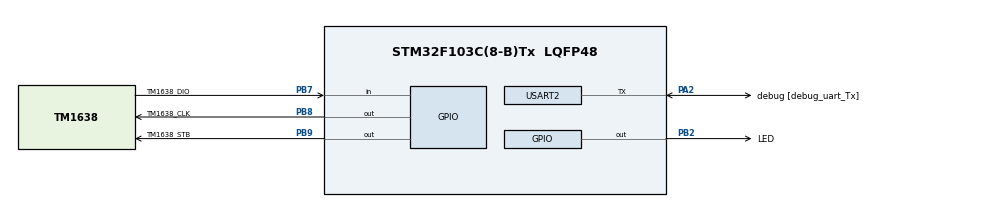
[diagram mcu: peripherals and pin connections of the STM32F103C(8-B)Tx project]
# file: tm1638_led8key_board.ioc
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Mcu.Family=STM32F1
Mcu.Name=STM32F103C(8-B)Tx
Mcu.Package=LQFP48
NVIC.PriorityGroup=NVIC_PRIORITYGROUP_4
PA13.Mode=Serial_Wire
PA13.Signal=SYS_JTMS-SWDIO
PA14.Mode=Serial_Wire
PA14.Signal=SYS_JTCK-SWCLK
PA2.GPIO_Label=debug [debug_uart_Tx]
PA2.Mode=Half_duplex(single_wire_mode)
PA2.Signal=USART2_TX
PB2.GPIO_Label=LED
PB2.Signal=GPIO_Output
PB7.GPIO_Label=TM1638_DIO
PB7.Signal=GPIO_Input
PB8.GPIO_Label=TM1638_CLK
PB8.Signal=GPIO_Output
PB9.GPIO_Label=TM1638_STB
PB9.Signal=GPIO_Output
PD0-OSC_IN.Mode=HSE-External-Oscillator
PD0-OSC_IN.Signal=RCC_OSC_IN
PD1-OSC_OUT.Mode=HSE-External-Oscillator
PD1-OSC_OUT.Signal=RCC_OSC_OUT
ProjectManager.HeapSize=0x200
ProjectManager.StackSize=0x400
ProjectManager.TargetToolchain=STM32CubeIDE
RCC.APB1Freq_Value=8000000
RCC.APB2Freq_Value=8000000
RCC.PLLSourceVirtual=RCC_PLLSOURCE_HSE
RCC.SYSCLKSource=RCC_SYSCLKSOURCE_HSE
RCC.USBFreq_Value=16000000
USART2.BaudRate=9600
USART2.VirtualMode=VM_ASYNC
board=custom

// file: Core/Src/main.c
/* USER CODE BEGIN Header */
/**
  ******************************************************************************
  * @file           : main.c
  * @brief          : Main program body
  ******************************************************************************
  * @attention
  *
  * Copyright (c) 2025 STMicroelectronics.
  * All rights reserved.
  *
  * This software is licensed under terms that can be found in the LICENSE file
  * in the root directory of this software component.
  * If no LICENSE file comes with this software, it is provided AS-IS.
  *
  ******************************************************************************
  */
/* USER CODE END Header */
#include "main.h"
#include "usart.h"
#include "gpio.h"

/* USER CODE BEGIN Includes */

	#include "local_config.h"
	#include "tm1638_led8keys_sm.h"

/* USER CODE END Includes */

/* USER CODE BEGIN PTD */

	/*
	 * 		TM1638 LED & KEYS:
	 * 	VCC		-> 3v3	power
	 * 	GND		-> GND	power
	 * 	STB		-> PB9	Output
	 * 	CLK		-> PB8	Output
	 * 	DIO		-> PB7	Output + Input
	 *
	 * 		stm32f103c8t6:
	 * 	SWDIO	-> PA13
	 * 	SWCLK	-> PA14
	 * 	debug 	-> PA2, 9600
	 * 	LED		-> PB2
	 * 	BTN		-> PA0
	 * 	8MHz	-> PD0, PD1
	 */

/* USER CODE END PTD */

void SystemClock_Config(void);
/* USER CODE BEGIN PFP */

	int  __io_putchar		(int);	// fflush(stdout);

/* USER CODE END PFP */

int main(void)
{

  /* MCU Configuration--------------------------------------------------------*/

  /* Reset of all peripherals, Initializes the Flash interface and the Systick. */
  HAL_Init();

  /* Configure the system clock */
  SystemClock_Config();

  /* Initialize all configured peripherals */
  MX_GPIO_Init();
  MX_USART2_UART_Init();
  /* USER CODE BEGIN 2 */

	#define 	DATE_as_str 	(__DATE__)
	#define 	TIME_as_str 	(__TIME__)
	DBG1("\r\n\r\n");
	DBG1("\tTM1638 + LED & KEYS board \r\n"	); // 8
	DBG1("\tTM1638 + LED 8 KEYS "	  		); // &
	int ver[3];
	ver[0] = (SOFT_VERSION / 100)     ;
	ver[1] = (SOFT_VERSION /  10) %10 ;
	ver[2] = (SOFT_VERSION      ) %10 ;
	DBG1("v%d.%d.%d \r\n",	ver[0], ver[1], ver[2] );
	DBG1("\tLED & KEYS development board\r\n");
	DBG1("\tstm32f103c8t6\r\n");
	DBG2("\t%s, %s \r\n" , DATE_as_str , TIME_as_str);
	DBG3("\tfor debug: PA2, UART2, 9600\r\n");

	TM1638_Init(BRIGHT_2);
	TM1638_Clear();	//	clear display
	DBG1("TM1638_Init - Ok.\r\n");

	DBG1("Test: 0 1 2 3 4 5 6 7\r\n");
	for (uint8_t pos = 0; pos < 8; pos++) {
		uint8_t digit 	= pos;
		uint8_t led 	= 1;
		TM1638_SetDigit(pos, digit, led); // print:  0 1 2 3 4 5 6 7
		DBG1("pos=%d dgt=%2d;   ", pos+1, digit); fflush(stdout);
		HAL_Delay(300);
	}
	DBG1("\r\n");
	HAL_Delay(1000);

	DBG1("Test: 8 9 a b c d e f\r\n");
	TM1638_Clear();	//	clear display
	for (uint8_t pos = 0; pos < 8; pos++) {
		uint8_t digit 	= pos + 8;
		uint8_t led 	= 1;
		TM1638_SetDigit(pos, digit, led); // print:  8 9 a b c d e f
		DBG1("pos=%d dgt=%2d;   ", pos+1, digit); fflush(stdout);
		HAL_Delay(300);
	}
	DBG1("\r\n");
	HAL_Delay(1000);

	DBG1("Test: blank . _ - ^ f e d\r\n");
	TM1638_Clear();	//	clear display
	for (uint8_t pos = 0; pos < 8; pos++) {
		uint8_t digit 	= 20 - pos;	//	20 = _blank_
		uint8_t led 	= 1;
		TM1638_SetDigit(pos, digit, led); // print:  blank . _ - ^ f e d
		DBG1("pos=%d dgt=%2d;   ", pos+1, digit); fflush(stdout);
		HAL_Delay(300);
	}
	DBG1("\r\n");
	HAL_Delay(1000);
  /* USER CODE END 2 */

  /* Infinite loop */
  /* USER CODE BEGIN WHILE */
  while (1)
  {
	static uint32_t cipher_u32	= 12345000;
	static uint8_t led_bit_mask = 0b00000001;

	int keys = TM1638_ReadButtons();
	if (keys == -1) {
		cipher_u32++;
		TM1638_Set_Cipher(cipher_u32, DEC_TYPE, led_bit_mask); // print cinher on display
		if (led_bit_mask == 0 ) {
			led_bit_mask = 1;
		} else {
			led_bit_mask = led_bit_mask<<1;
		}
		DBG1("%3lu ", cipher_u32); fflush(stdout);
	} else {
		uint32_t dec_multiplier = pow(10, (8-keys));
		uint32_t cipher_key	= ((8-keys)+1)*dec_multiplier;
		led_bit_mask = 1<<(8-keys);
		TM1638_Set_Cipher(cipher_key, DEC_TYPE, led_bit_mask); // flash LED
		DBG1(" %d ", keys); fflush(stdout);
	}

	HAL_GPIO_TogglePin(LED_GPIO_Port, LED_Pin); // blink LED on STM32board
	HAL_Delay(200);
    /* USER CODE END WHILE */

  }
}

void SystemClock_Config(void)
{
  RCC_OscInitTypeDef RCC_OscInitStruct = {0};
  RCC_ClkInitTypeDef RCC_ClkInitStruct = {0};

  /** Initializes the RCC Oscillators according to the specified parameters
  * in the RCC_OscInitTypeDef structure.
  */
  RCC_OscInitStruct.OscillatorType = RCC_OSCILLATORTYPE_HSE;
  RCC_OscInitStruct.HSEState = RCC_HSE_ON;
  RCC_OscInitStruct.PLL.PLLState = RCC_PLL_NONE;
  if (HAL_RCC_OscConfig(&RCC_OscInitStruct) != HAL_OK)
  {
    Error_Handler();
  }

  /** Initializes the CPU, AHB and APB buses clocks
  */
  RCC_ClkInitStruct.ClockType = RCC_CLOCKTYPE_HCLK|RCC_CLOCKTYPE_SYSCLK
                              |RCC_CLOCKTYPE_PCLK1|RCC_CLOCKTYPE_PCLK2;
  RCC_ClkInitStruct.SYSCLKSource = RCC_SYSCLKSOURCE_HSE;
  RCC_ClkInitStruct.AHBCLKDivider = RCC_SYSCLK_DIV1;
  RCC_ClkInitStruct.APB1CLKDivider = RCC_HCLK_DIV1;
  RCC_ClkInitStruct.APB2CLKDivider = RCC_HCLK_DIV1;

  if (HAL_RCC_ClockConfig(&RCC_ClkInitStruct, FLASH_LATENCY_0) != HAL_OK)
  {
    Error_Handler();
  }
}

/* USER CODE BEGIN 4 */

	int __io_putchar(int ch) {	// for printf
		HAL_UART_Transmit(&UART_DEBUG, (uint8_t *)&ch, 1, HAL_MAX_DELAY);
		return ch;
	}  //**************************************************************************

/* USER CODE END 4 */

void Error_Handler(void)
{
  __disable_irq();
  while (1)
  {
  }
}
